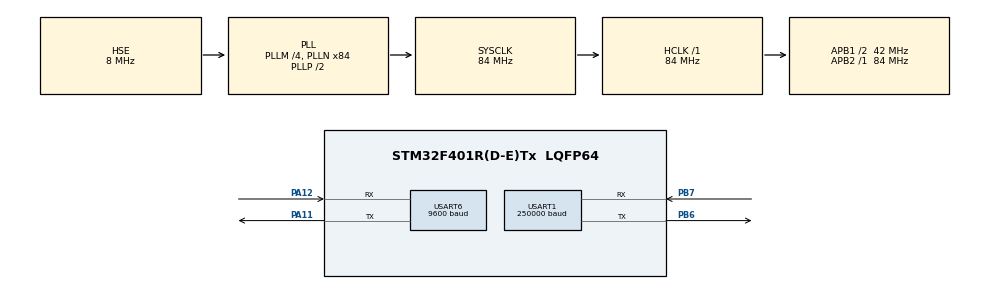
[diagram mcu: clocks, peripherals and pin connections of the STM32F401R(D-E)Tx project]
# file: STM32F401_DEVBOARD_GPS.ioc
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Mcu.Family=STM32F4
Mcu.Name=STM32F401R(D-E)Tx
Mcu.Package=LQFP64
NVIC.PriorityGroup=NVIC_PRIORITYGROUP_4
NVIC.USART6_IRQn=true\:0\:0\:false\:false\:true\:true\:true\:true
PA11.Mode=Asynchronous
PA11.Signal=USART6_TX
PA12.Mode=Asynchronous
PA12.Signal=USART6_RX
PB6.Mode=Asynchronous
PB6.Signal=USART1_TX
PB7.Mode=Asynchronous
PB7.Signal=USART1_RX
PH0\ -\ OSC_IN.Mode=HSE-External-Oscillator
PH0\ -\ OSC_IN.Signal=RCC_OSC_IN
PH1\ -\ OSC_OUT.Mode=HSE-External-Oscillator
PH1\ -\ OSC_OUT.Signal=RCC_OSC_OUT
ProjectManager.HeapSize=0x400
ProjectManager.StackSize=0x1000
ProjectManager.TargetToolchain=STM32CubeIDE
RCC.48MHZClocksFreq_Value=42000000
RCC.AHBFreq_Value=84000000
RCC.APB1CLKDivider=RCC_HCLK_DIV2
RCC.APB1Freq_Value=42000000
RCC.APB1TimFreq_Value=84000000
RCC.APB2Freq_Value=84000000
RCC.APB2TimFreq_Value=84000000
RCC.CortexFreq_Value=84000000
RCC.HCLKFreq_Value=84000000
RCC.HSE_VALUE=8000000
RCC.HSI_VALUE=16000000
RCC.LSE_VALUE=32768
RCC.PLLM=4
RCC.PLLN=84
RCC.PLLSourceVirtual=RCC_PLLSOURCE_HSE
RCC.SYSCLKFreq_VALUE=84000000
RCC.SYSCLKSource=RCC_SYSCLKSOURCE_PLLCLK
RCC.VCOOutputFreq_Value=168000000
USART1.BaudRate=250000
USART1.VirtualMode=VM_ASYNC
USART6.BaudRate=9600
USART6.VirtualMode=VM_ASYNC
board=custom

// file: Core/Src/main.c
/* USER CODE BEGIN Header */
/**
  ******************************************************************************
  * @file           : main.c
  * @brief          : Main program body
  ******************************************************************************
  * @attention
  *
  * Copyright (c) 2026 STMicroelectronics.
  * All rights reserved.
  *
  * This software is licensed under terms that can be found in the LICENSE file
  * in the root directory of this software component.
  * If no LICENSE file comes with this software, it is provided AS-IS.
  *
  ******************************************************************************
  */
/* USER CODE END Header */
#include "main.h"
#include "usart.h"
#include "gpio.h"

/* USER CODE BEGIN Includes */

#include <stdint.h>
#include <stdio.h>
#include <stdbool.h>
#include <string.h>

#include "GPS/gps.h"

/* USER CODE END Includes */

/* USER CODE BEGIN PM */

#define UART                                     &huart1
#define BRIGHTNESS                               05
#define UART_TX_BUFFER_SIZE                      128

/* USER CODE END PM */

/* USER CODE BEGIN PV */

char UART_TX_Buffer[UART_TX_BUFFER_SIZE];

extern GPS_t GPS;

/* USER CODE END PV */

void SystemClock_Config(void);
/* USER CODE BEGIN PFP */

void UART_Transmit (void);

/* USER CODE END PFP */

int main(void)
{

  /* MCU Configuration--------------------------------------------------------*/

  /* Reset of all peripherals, Initializes the Flash interface and the Systick. */
  HAL_Init();

  /* Configure the system clock */
  SystemClock_Config();

  /* Initialize all configured peripherals */
  MX_GPIO_Init();
  MX_USART6_UART_Init();
  MX_USART1_UART_Init();

  /* Infinite loop */
  /* USER CODE BEGIN WHILE */

  GPS_Init ();

  while (1)
  {
    /* USER CODE END WHILE */

    /* USER CODE BEGIN 3 */

    snprintf(UART_TX_Buffer, sizeof(UART_TX_Buffer), "Longitude: %.6f Latitude: %.6f HDOP: %.1f satelites: %i \n", GPS.dec_longitude, GPS.dec_latitude, GPS.hdop, GPS.satelites);
    UART_Transmit();

    HAL_Delay(1000);
  }
  /* USER CODE END 3 */
}

void SystemClock_Config(void)
{
  RCC_OscInitTypeDef RCC_OscInitStruct = {0};
  RCC_ClkInitTypeDef RCC_ClkInitStruct = {0};

  /** Configure the main internal regulator output voltage
  */
  __HAL_RCC_PWR_CLK_ENABLE();
  __HAL_PWR_VOLTAGESCALING_CONFIG(PWR_REGULATOR_VOLTAGE_SCALE2);

  /** Initializes the RCC Oscillators according to the specified parameters
  * in the RCC_OscInitTypeDef structure.
  */
  RCC_OscInitStruct.OscillatorType = RCC_OSCILLATORTYPE_HSE;
  RCC_OscInitStruct.HSEState = RCC_HSE_ON;
  RCC_OscInitStruct.PLL.PLLState = RCC_PLL_ON;
  RCC_OscInitStruct.PLL.PLLSource = RCC_PLLSOURCE_HSE;
  RCC_OscInitStruct.PLL.PLLM = 4;
  RCC_OscInitStruct.PLL.PLLN = 84;
  RCC_OscInitStruct.PLL.PLLP = RCC_PLLP_DIV2;
  RCC_OscInitStruct.PLL.PLLQ = 4;
  if (HAL_RCC_OscConfig(&RCC_OscInitStruct) != HAL_OK)
  {
    Error_Handler();
  }

  /** Initializes the CPU, AHB and APB buses clocks
  */
  RCC_ClkInitStruct.ClockType = RCC_CLOCKTYPE_HCLK|RCC_CLOCKTYPE_SYSCLK
                              |RCC_CLOCKTYPE_PCLK1|RCC_CLOCKTYPE_PCLK2;
  RCC_ClkInitStruct.SYSCLKSource = RCC_SYSCLKSOURCE_PLLCLK;
  RCC_ClkInitStruct.AHBCLKDivider = RCC_SYSCLK_DIV1;
  RCC_ClkInitStruct.APB1CLKDivider = RCC_HCLK_DIV2;
  RCC_ClkInitStruct.APB2CLKDivider = RCC_HCLK_DIV1;

  if (HAL_RCC_ClockConfig(&RCC_ClkInitStruct, FLASH_LATENCY_2) != HAL_OK)
  {
    Error_Handler();
  }
}

/* USER CODE BEGIN 4 */
void HAL_UART_RxCpltCallback (UART_HandleTypeDef *huart)
{
  if (huart == &huart6)
  {
    GPS_UART_CallBack ();
  }
}

void UART_Transmit ()
{
  HAL_UART_Transmit(UART, (uint8_t*) UART_TX_Buffer, strlen (UART_TX_Buffer), 20);
}

/* USER CODE END 4 */

void Error_Handler(void)
{
  __disable_irq();
  while (1)
  {
  }
}
